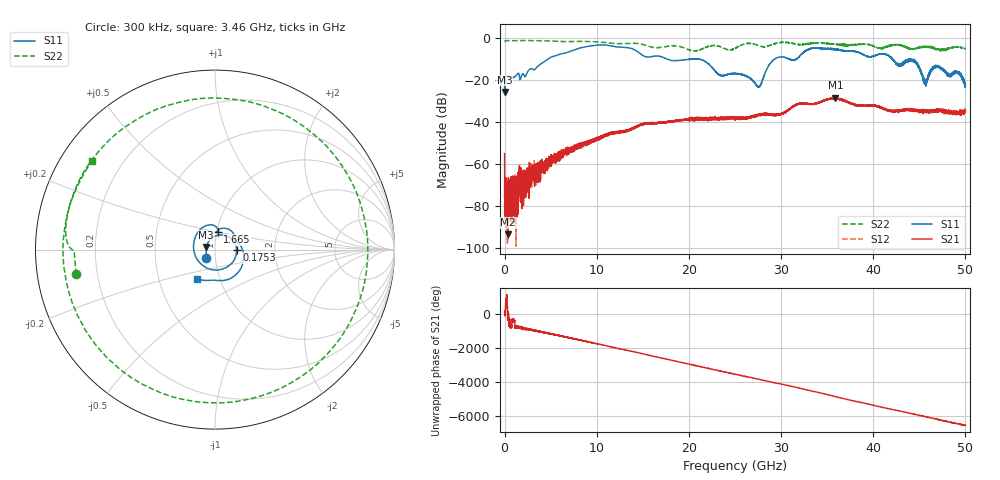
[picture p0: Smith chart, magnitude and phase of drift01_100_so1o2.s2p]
!Created with skrf (http://scikit-rf.org).
# Hz S RI R 50.0
!freq ReS11 ImS11 ReS21 ImS21 ReS12 ImS12 ReS22 ImS22
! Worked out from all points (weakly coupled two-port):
!   10001 points, 300 kHz to 50 GHz, reference 50 ohm
!   highest |S21| = -28.68 dB at 35.9 GHz (marker M1); lowest = -93.6 dB at 375.3 MHz (marker M2)
!   lowest |S11| = -25.8 dB at 5.3 MHz (marker M3), VSWR 1.11, Z = 45.3 + j1.4 ohm
!   |S11| at or under -10 dB: start of sweep to 4.769 GHz; 17.51 GHz to 29.39 GHz (11.88 GHz wide, 50.7 % of centre); 44.04 GHz to end of sweep (the widest 3 of 12)
!   |S22| runs from -6.6 to -1.4 dB; largest |S21 - S12| = 0.0041
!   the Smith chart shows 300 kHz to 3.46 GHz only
!   S11 on the Smith chart (normalised r, x): 300 kHz: 0.90, -0.09; 175.3 MHz: 1.27, -0.01; 1.665 GHz: 1.01, +0.20; 3.46 GHz: 0.77, -0.26
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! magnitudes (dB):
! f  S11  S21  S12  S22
! 300 kHz  -23.3  -55.2  -70.2  -2.1
! 5.3 MHz  -25.8  -76.5  -82.8  -2.1
! 175.3 MHz  -18.4  -71.7  -77.3  -1.4
! 375.3 MHz  -18.5  -93.6  -88.4  -1.4
! 1.665 GHz  -20.0  -65.9  -68.3  -1.4
! 3.46 GHz  -14.3  -64.2  -62.4  -1.5
! 8.335 GHz  -4.8  -51.2  -51.5  -1.8
! 16.67 GHz  -8.8  -40.9  -40.7  -4.8
! 21.22 GHz  -10.3  -38.4  -38.8  -5.7
! 23.39 GHz  -17.9  -38.7  -38.3  -4.4
! 25 GHz  -17.1  -38.3  -38.4  -5.1
! 27.59 GHz  -23.5  -37.1  -36.8  -3.8
! 29.27 GHz  -10.3  -37.0  -36.9  -2.9
! 31.45 GHz  -10.7  -32.4  -32.3  -2.9
! 33.34 GHz  -5.1  -31.6  -31.4  -2.7
! 35.9 GHz  -5.3  -28.7  -29.0  -2.9
! 41.67 GHz  -8.8  -34.7  -34.8  -4.3
! 42.8 GHz  -13.0  -34.6  -34.9  -3.6
! 44.47 GHz  -10.5  -35.0  -34.8  -5.5
! 45.64 GHz  -20.3  -34.7  -35.1  -4.3
! 46.96 GHz  -13.2  -34.9  -34.6  -5.7
! 50 GHz  -22.1  -34.8  -35.4  -5.4
